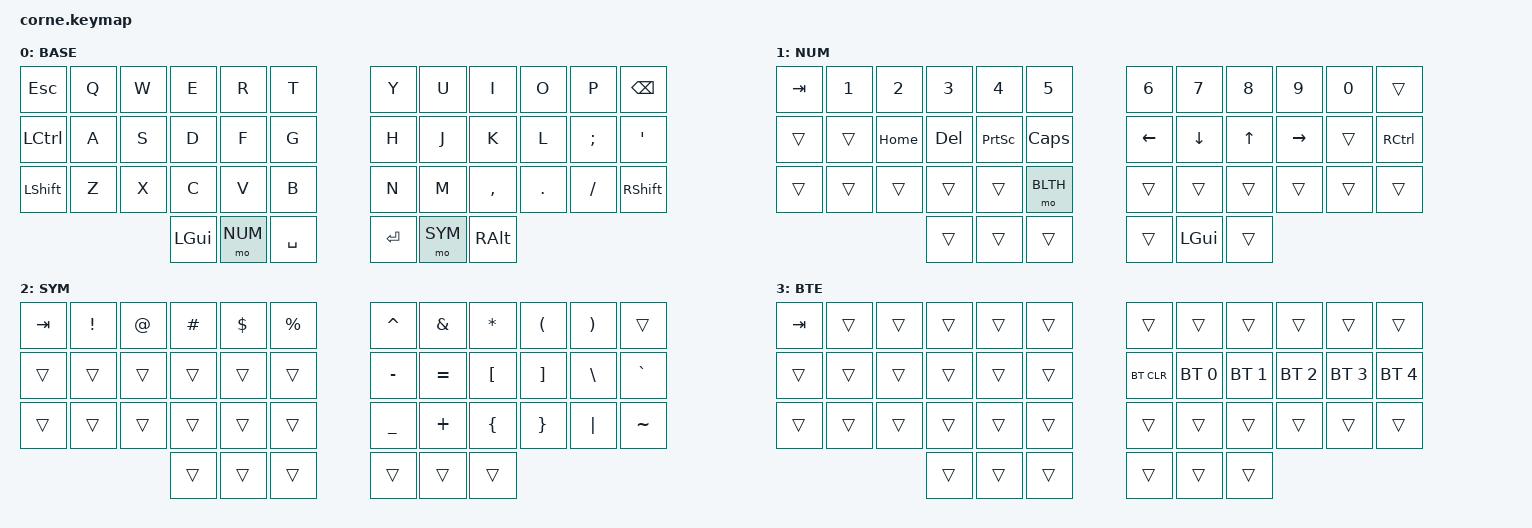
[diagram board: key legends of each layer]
/*
 * Copyright (c) 2020 The ZMK Contributors
 *
 * SPDX-License-Identifier: MIT
 */

#include <behaviors.dtsi>
#include <dt-bindings/zmk/keys.h>
#include <dt-bindings/zmk/bt.h>
#define DEFAULT 0
#define NUM 1
#define SYM 2
#define BLTH 3

/ {
        keymap {
                compatible = "zmk,keymap";

                BASE {
// -----------------------------------------------------------------------------------------
// |  ESC |  Q  |  W  |  E  |  R  |  T  |   |  Y  |  U   |  I  |  O  |  P  | BKSP |
// | CTRL |  A  |  S  |  D  |  F  |  G  |   |  H  |  J   |  K  |  L  |  ;  |  '   |
// | SHFT |  Z  |  X  |  C  |  V  |  B  |   |  N  |  M   |  ,  |  .  |  /  | RSHFT|
//                    | GUI | NUM | SPC |   | ENT | RSE  | ALT |
                        bindings = <
   &kp ESC   &kp Q &kp W &kp E    &kp R   &kp T      &kp Y   &kp U     &kp I     &kp O   &kp P    &kp BSPC
   &kp LCTRL &kp A &kp S &kp D    &kp F   &kp G      &kp H   &kp J     &kp K     &kp L   &kp SEMI &kp SQT
   &kp LSHFT &kp Z &kp X &kp C    &kp V   &kp B      &kp N   &kp M     &kp COMMA &kp DOT &kp FSLH &kp RSHFT
                         &kp LGUI &mo NUM &kp SPACE  &kp RET &mo SYM &kp RALT
                        >;
                        
                };
                NUM {
// -----------------------------------------------------------------------------------------
// |  TAB |  1  |  2  |  3  |  4  |  5  |   |  6  |  7  |  8  |  9  |  0  | BKSP |
// |      |     | HOME| DEL |PSCRN| CLCK|   | LFT | DWN |  UP | RGT |     | CTRL |
// | SHFT |     |     |     |     | BT  |   |     |     |     |     |     | SHFT |
//                    | GUI |     | SPC |   | ENT | GUI | ALT |
                        bindings = <
   &kp TAB &kp N1 &kp N2   &kp N3  &kp N4    &kp N5    &kp N6   &kp N7   &kp N8 &kp N9    &kp N0 &trans
   &trans  &trans &kp HOME &kp DEL &kp PSCRN &kp CAPS  &kp LEFT &kp DOWN &kp UP &kp RIGHT &trans &kp RCTRL
   &trans  &trans &trans   &trans  &trans    &mo BLTH  &trans   &trans   &trans &trans    &trans &trans
                           &trans  &trans    &trans    &trans   &kp LGUI &trans
                        >;
                };
                SYM {
// -----------------------------------------------------------------------------------------
// |  TAB |  !  |  @  |  #  |  $  |  %  |   |  ^  |  &  |  *  |  (  |  )  | BKSP |
// | CTRL |     |     |     |     |     |   |  -  |  =  |  [  |  ]  |  \  |  `   |
// | SHFT |     |     |     |     |     |   |  _  |  +  |  {  |  }  | "|" |  ~   |
//                    | GUI |     | SPC |   | ENT |     | ALT |
                        bindings = <
   &kp TAB &kp EXCL &kp AT &kp HASH &kp DLLR &kp PRCNT  &kp CARET &kp AMPS  &kp ASTRK &kp LPAR &kp RPAR &trans
   &trans  &trans   &trans &trans   &trans   &trans     &kp MINUS &kp EQUAL &kp LBKT  &kp RBKT &kp BSLH &kp GRAVE
   &trans  &trans   &trans &trans   &trans   &trans     &kp UNDER &kp PLUS  &kp LBRC  &kp RBRC &kp PIPE &kp TILDE
                           &trans   &trans   &trans     &trans   &trans    &trans
                        >;
                };
                BTE {

// -----------------------------------------------------------------------------------------
// |  TAB |  1  |  2  |  3  |  4  |  5  |   |  6  |  7  |  8  |  9  |  0  | BKSP |
// |      |     |     |     |     |     |   |BTCLR| BT1 | BT2 | BT3 | BT4 | BT5 |  
// | SHFT |     |     |     |     |     |   |     |     |     |     |     |      |
//                    | GUI |     | SPC |   | ENT |     | ALT |
                        bindings = <
   &kp TAB &trans &trans &trans &trans &trans  &trans     &trans       &trans       &trans       &trans       &trans
   &trans  &trans &trans &trans &trans &trans  &bt BT_CLR &bt BT_SEL 0 &bt BT_SEL 1 &bt BT_SEL 2 &bt BT_SEL 3 &bt BT_SEL 4
   &trans  &trans &trans &trans &trans &trans  &trans     &trans       &trans       &trans       &trans       &trans
                         &trans &trans &trans  &trans     &trans       &trans
                        >;
                };
        };
};
